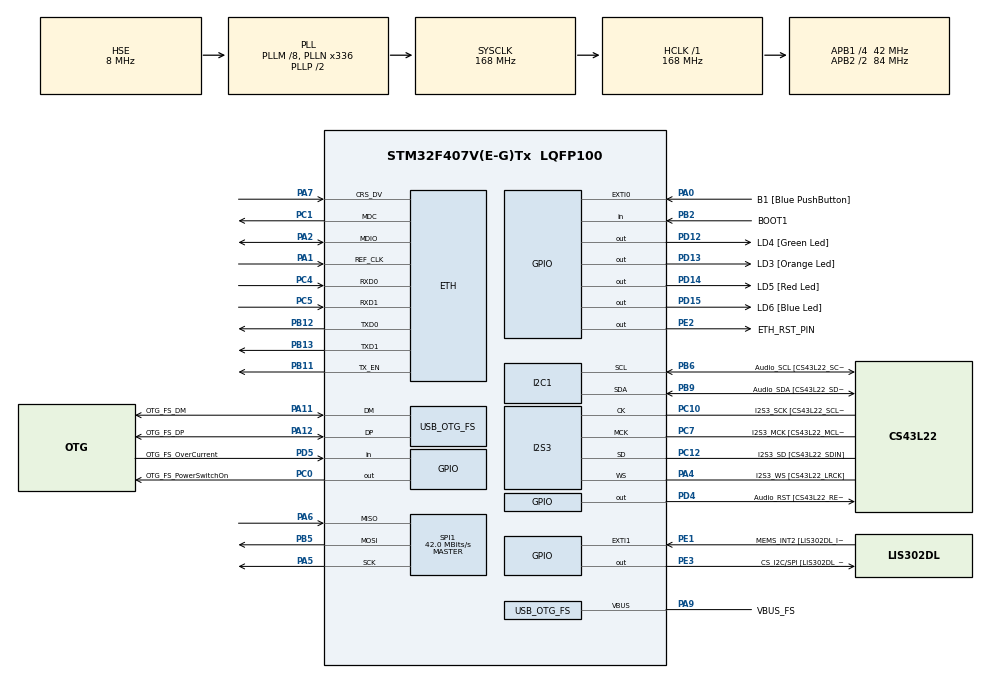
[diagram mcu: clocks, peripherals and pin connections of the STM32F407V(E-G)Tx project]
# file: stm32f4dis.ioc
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ETH.AutoNegotiation=ETH_AUTONEGOTIATION_DISABLE
ETH.MACAddr=42\:52\:4F\:45\:4B\:4E
ETH.MediaInterface=ETH_MEDIA_INTERFACE_RMII
ETH.PHY_CONFIG_DELAY=0x00000FFF
ETH.PHY_Name_RMII=userPHY
ETH.PHY_READ_TO=0x0004FFFF
ETH.PHY_RESET_DELAY=0x000008FF
ETH.PHY_SR=0x31
ETH.PHY_User_Name=STM32F4DIS_BB
ETH.PHY_WRITE_TO=0x0004FFFF
ETH.PhyAddress=0
I2S3.AudioFreq-Half_Duplex_Master=I2S_AUDIOFREQ_96K
I2S3.ErrorAudioFreq=-2.34 %
I2S3.ErrorAudioFreq-Half_Duplex_Master=0.8 %
I2S3.FullDuplexMode=I2S_FULLDUPLEXMODE_DISABLE
I2S3.Instance=SPI$Index
I2S3.RealAudioFreq=93.75 KHz
I2S3.RealAudioFreq-Half_Duplex_Master=96.774 KHz
I2S3.VirtualMode=I2S_MODE_MASTER
LWIP.CHECKSUM_BY_HARDWARE=0
LWIP.GATEWAY_ADDRESS=000.000.000.000
LWIP.IP_ADDRESS=000.000.000.000
LWIP.LWIP_DBG_MIN_LEVEL=LWIP_DBG_LEVEL_SEVERE
LWIP.LWIP_DHCP=1
LWIP.LWIP_NETIF_LINK_CALLBACK=0
LWIP.LWIP_SNMP=1
LWIP.LWIP_SNMP_V3=0
LWIP.LWIP_SNMP_V3_CRYPTO=0
LWIP.LWIP_SNMP_V3_MBEDTLS=0
LWIP.NETMASK_ADDRESS=000.000.000.000
LWIP.SNMP_LWIP_MIB2_SYSCONTACT="https\://Broekman.biz"
LWIP.SNMP_LWIP_MIB2_SYSDESC="STM32F407VGT6;168MHz_STM32F4DIS-BB_PHY_BROEKMAN"
LWIP.SNMP_LWIP_MIB2_SYSLOCATION="Netherlands"
LWIP.SNMP_LWIP_MIB2_SYSNAME="STM32F4DISCOVERY_STM32F4DIS-BB_PHY_BROEKMAN"
LWIP.Version=v2.0.3_Cube
Mcu.Family=STM32F4
Mcu.Name=STM32F407V(E-G)Tx
Mcu.Package=LQFP100
NVIC.OTG_FS_IRQn=true\:0\:0\:false\:false\:true\:true
NVIC.PriorityGroup=NVIC_PRIORITYGROUP_0
PA0-WKUP.GPIO_Label=B1 [Blue PushButton]
PA0-WKUP.GPIO_ModeDefaultEXTI=GPIO_MODE_EVT_RISING
PA0-WKUP.GPIO_PuPd=GPIO_NOPULL
PA0-WKUP.Signal=GPXTI0
PA1.Mode=RMII
PA1.Signal=ETH_REF_CLK
PA10.GPIO_Label=OTG_FS_ID
PA10.GPIO_Mode=GPIO_MODE_AF_PP
PA10.GPIO_PuPd=GPIO_NOPULL
PA10.GPIO_Speed=GPIO_SPEED_FREQ_LOW
PA10.Signal=USB_OTG_FS_ID
PA11.GPIO_Label=OTG_FS_DM
PA11.GPIO_Mode=GPIO_MODE_AF_PP
PA11.GPIO_PuPd=GPIO_NOPULL
PA11.GPIO_Speed=GPIO_SPEED_FREQ_LOW
PA11.Mode=Host_Only
PA11.Signal=USB_OTG_FS_DM
PA12.GPIO_Label=OTG_FS_DP
PA12.GPIO_Mode=GPIO_MODE_AF_PP
PA12.GPIO_PuPd=GPIO_NOPULL
PA12.GPIO_Speed=GPIO_SPEED_FREQ_LOW
PA12.Mode=Host_Only
PA12.Signal=USB_OTG_FS_DP
PA13.GPIO_Label=SWDIO
PA13.Mode=Serial_Wire
PA13.Signal=SYS_JTMS-SWDIO
PA14.GPIO_Label=SWCLK
PA14.Mode=Serial_Wire
PA14.Signal=SYS_JTCK-SWCLK
PA2.Mode=RMII
PA2.Signal=ETH_MDIO
PA4.GPIO_Label=I2S3_WS [CS43L22_LRCK]
PA4.GPIO_Mode=GPIO_MODE_AF_PP
PA4.GPIO_PuPd=GPIO_NOPULL
PA4.GPIO_Speed=GPIO_SPEED_FREQ_LOW
PA4.Mode=Half_Duplex_Master
PA4.Signal=I2S3_WS
PA5.Mode=Full_Duplex_Master
PA5.Signal=SPI1_SCK
PA6.Mode=Full_Duplex_Master
PA6.Signal=SPI1_MISO
PA7.Mode=RMII
PA7.Signal=ETH_CRS_DV
PA9.GPIO_Label=VBUS_FS
PA9.GPIO_Mode=GPIO_MODE_INPUT
PA9.GPIO_PuPd=GPIO_NOPULL
PA9.Mode=Activate_VBUS
PA9.Signal=USB_OTG_FS_VBUS
PB10.GPIO_Label=CLK_IN [MP45DT02_CLK]
PB10.GPIO_Mode=GPIO_MODE_AF_PP
PB10.GPIO_PuPd=GPIO_NOPULL
PB10.GPIO_Speed=GPIO_SPEED_FREQ_LOW
PB10.Signal=I2S2_CK
PB11.Mode=RMII
PB11.Signal=ETH_TX_EN
PB12.Mode=RMII
PB12.Signal=ETH_TXD0
PB13.Mode=RMII
PB13.Signal=ETH_TXD1
PB2.GPIO_Label=BOOT1
PB2.GPIO_Mode=GPIO_MODE_INPUT
PB2.GPIO_PuPd=GPIO_NOPULL
PB2.Signal=GPIO_Input
PB3.GPIO_Label=SWO
PB3.Signal=SYS_JTDO-SWO
PB5.Mode=Full_Duplex_Master
PB5.Signal=SPI1_MOSI
PB6.GPIO_Label=Audio_SCL [CS43L22_SCL]
PB6.GPIO_Mode=GPIO_MODE_AF_OD
PB6.GPIO_PuPd=GPIO_NOPULL
PB6.GPIO_Speed=GPIO_SPEED_FREQ_LOW
PB6.Mode=I2C
PB6.Signal=I2C1_SCL
PB9.GPIO_Label=Audio_SDA [CS43L22_SDA]
PB9.GPIO_Mode=GPIO_MODE_AF_OD
PB9.GPIO_PuPd=GPIO_NOPULL
PB9.GPIO_Speed=GPIO_SPEED_FREQ_LOW
PB9.Mode=I2C
PB9.Signal=I2C1_SDA
PC0.GPIO_Label=OTG_FS_PowerSwitchOn
PC0.GPIO_PuPd=GPIO_NOPULL
PC0.GPIO_Speed=GPIO_SPEED_FREQ_LOW
PC0.PinState=GPIO_PIN_SET
PC0.Signal=GPIO_Output
PC1.Mode=RMII
PC1.Signal=ETH_MDC
PC10.GPIO_Label=I2S3_SCK [CS43L22_SCLK]
PC10.GPIO_Mode=GPIO_MODE_AF_PP
PC10.GPIO_PuPd=GPIO_NOPULL
PC10.GPIO_Speed=GPIO_SPEED_FREQ_LOW
PC10.Mode=Half_Duplex_Master
PC10.Signal=I2S3_CK
PC12.GPIO_Label=I2S3_SD [CS43L22_SDIN]
PC12.GPIO_Mode=GPIO_MODE_AF_PP
PC12.GPIO_PuPd=GPIO_NOPULL
PC12.GPIO_Speed=GPIO_SPEED_FREQ_LOW
PC12.Mode=Half_Duplex_Master
PC12.Signal=I2S3_SD
PC14-OSC32_IN.GPIO_Label=PC14-OSC32_IN
PC14-OSC32_IN.Mode=LSE-External-Oscillator
PC14-OSC32_IN.Signal=RCC_OSC32_IN
PC15-OSC32_OUT.GPIO_Label=PC15-OSC32_OUT
PC15-OSC32_OUT.Mode=LSE-External-Oscillator
PC15-OSC32_OUT.Signal=RCC_OSC32_OUT
PC3.GPIO_Label=PDM_OUT [MP45DT02_DOUT]
PC3.GPIO_Mode=GPIO_MODE_AF_PP
PC3.GPIO_PuPd=GPIO_NOPULL
PC3.GPIO_Speed=GPIO_SPEED_FREQ_LOW
PC3.Signal=I2S2_SD
PC4.Mode=RMII
PC4.Signal=ETH_RXD0
PC5.Mode=RMII
PC5.Signal=ETH_RXD1
PC7.GPIO_Label=I2S3_MCK [CS43L22_MCLK]
PC7.GPIO_Mode=GPIO_MODE_AF_PP
PC7.GPIO_PuPd=GPIO_NOPULL
PC7.GPIO_Speed=GPIO_SPEED_FREQ_LOW
PC7.Mode=Master_Clock_Activated
PC7.Signal=I2S3_MCK
PD12.GPIO_Label=LD4 [Green Led]
PD12.GPIO_PuPd=GPIO_NOPULL
PD12.GPIO_Speed=GPIO_SPEED_FREQ_LOW
PD12.Signal=GPIO_Output
PD13.GPIO_Label=LD3 [Orange Led]
PD13.GPIO_PuPd=GPIO_NOPULL
PD13.GPIO_Speed=GPIO_SPEED_FREQ_LOW
PD13.Signal=GPIO_Output
PD14.GPIO_Label=LD5 [Red Led]
PD14.GPIO_PuPd=GPIO_NOPULL
PD14.GPIO_Speed=GPIO_SPEED_FREQ_LOW
PD14.Signal=GPIO_Output
PD15.GPIO_Label=LD6 [Blue Led]
PD15.GPIO_PuPd=GPIO_NOPULL
PD15.GPIO_Speed=GPIO_SPEED_FREQ_LOW
PD15.Signal=GPIO_Output
PD4.GPIO_Label=Audio_RST [CS43L22_RESET]
PD4.GPIO_PuPd=GPIO_NOPULL
PD4.GPIO_Speed=GPIO_SPEED_FREQ_LOW
PD4.Signal=GPIO_Output
PD5.GPIO_Label=OTG_FS_OverCurrent
PD5.GPIO_Mode=GPIO_MODE_INPUT
PD5.GPIO_PuPd=GPIO_NOPULL
PD5.Signal=GPIO_Input
PE1.GPIO_Label=MEMS_INT2 [LIS302DL_INT2]
PE1.GPIO_ModeDefaultEXTI=GPIO_MODE_EVT_RISING
PE1.GPIO_PuPd=GPIO_NOPULL
PE1.Signal=GPXTI1
PE2.GPIO_Label=ETH_RST_PIN
PE2.GPIO_Speed=GPIO_SPEED_FREQ_HIGH
PE2.Signal=GPIO_Output
PE3.GPIO_Label=CS_I2C/SPI [LIS302DL_CS_I2C/SPI]
PE3.GPIO_PuPd=GPIO_NOPULL
PE3.GPIO_Speed=GPIO_SPEED_FREQ_LOW
PE3.Signal=GPIO_Output
PH0-OSC_IN.GPIO_Label=PH0-OSC_IN
PH0-OSC_IN.Mode=HSE-External-Oscillator
PH0-OSC_IN.Signal=RCC_OSC_IN
PH1-OSC_OUT.GPIO_Label=PH1-OSC_OUT
PH1-OSC_OUT.Mode=HSE-External-Oscillator
PH1-OSC_OUT.Signal=RCC_OSC_OUT
ProjectManager.HeapSize=0x200
ProjectManager.StackSize=0x400
ProjectManager.TargetToolchain=TrueSTUDIO
RCC.48MHZClocksFreq_Value=48000000
RCC.AHBFreq_Value=168000000
RCC.APB1CLKDivider=RCC_HCLK_DIV4
RCC.APB1Freq_Value=42000000
RCC.APB1TimFreq_Value=84000000
RCC.APB2CLKDivider=RCC_HCLK_DIV2
RCC.APB2Freq_Value=84000000
RCC.APB2TimFreq_Value=168000000
RCC.CortexFreq_Value=168000000
RCC.HCLKFreq_Value=168000000
RCC.HSE_VALUE=8000000
RCC.HSI_VALUE=16000000
RCC.PLLM=8
RCC.PLLN=336
RCC.PLLQ=7
RCC.SYSCLKFreq_VALUE=168000000
RCC.SYSCLKSource=RCC_SYSCLKSOURCE_PLLCLK
RCC.VCOOutputFreq_Value=336000000
SPI1.CalculateBaudRate=42.0 MBits/s
SPI1.Direction=SPI_DIRECTION_2LINES
SPI1.Mode=SPI_MODE_MASTER
SPI1.VirtualType=VM_MASTER
USB_HOST.BSP.number=1
USB_HOST.USBH_HandleTypeDef-CDC_FS=hUsbHostFS
USB_HOST.VirtualModeFS=Cdc
USB_HOST0.BSP.STBoard=false
USB_HOST0.BSP.api=UnknownBspDriver
USB_HOST0.BSP.i2caddr=0
USB_HOST0.BSP.i2creg=0
USB_HOST0.BSP.instance=PC0
USB_HOST0.BSP.ip=GPIO
USB_HOST0.BSP.mode=Output
USB_HOST0.BSP.name=Drive_VBUS_FS
USB_HOST0.BSP.solution=PC0
USB_OTG_FS.VirtualMode=Host_Only
USB_OTG_FS.phy_itface=HCD_PHY_EMBEDDED
VP_LWIP_VS_Enabled.Mode=Enabled
VP_RNG_VS_RNG.Mode=RNG_Activate
VP_USB_HOST_VS_USB_HOST_CDC_FS.Mode=CDC_FS
board=STM32F4DISCOVERY

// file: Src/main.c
/* USER CODE BEGIN Header */
/**
  ******************************************************************************
  * @file           : main.c
  * @brief          : Main program body
  ******************************************************************************
  * This notice applies to any and all portions of this file
  * that are not between comment pairs USER CODE BEGIN and
  * USER CODE END. Other portions of this file, whether
  * inserted by the user or by software development tools
  * are owned by their respective copyright owners.
  *
  * Copyright (c) 2018 STMicroelectronics International N.V.
  * All rights reserved.
  *
  * Redistribution and use in source and binary forms, with or without
  * modification, are permitted, provided that the following conditions are met:
  *
  * 1. Redistribution of source code must retain the above copyright notice,
  *    this list of conditions and the following disclaimer.
  * 2. Redistributions in binary form must reproduce the above copyright notice,
  *    this list of conditions and the following disclaimer in the documentation
  *    and/or other materials provided with the distribution.
  * 3. Neither the name of STMicroelectronics nor the names of other
  *    contributors to this software may be used to endorse or promote products
  *    derived from this software without specific written permission.
  * 4. This software, including modifications and/or derivative works of this
  *    software, must execute solely and exclusively on microcontroller or
  *    microprocessor devices manufactured by or for STMicroelectronics.
  * 5. Redistribution and use of this software other than as permitted under
  *    this license is void and will automatically terminate your rights under
  *    this license.
  *
  * THIS SOFTWARE IS PROVIDED BY STMICROELECTRONICS AND CONTRIBUTORS "AS IS"
  * AND ANY EXPRESS, IMPLIED OR STATUTORY WARRANTIES, INCLUDING, BUT NOT
  * LIMITED TO, THE IMPLIED WARRANTIES OF MERCHANTABILITY, FITNESS FOR A
  * PARTICULAR PURPOSE AND NON-INFRINGEMENT OF THIRD PARTY INTELLECTUAL PROPERTY
  * RIGHTS ARE DISCLAIMED TO THE FULLEST EXTENT PERMITTED BY LAW. IN NO EVENT
  * SHALL STMICROELECTRONICS OR CONTRIBUTORS BE LIABLE FOR ANY DIRECT, INDIRECT,
  * INCIDENTAL, SPECIAL, EXEMPLARY, OR CONSEQUENTIAL DAMAGES (INCLUDING, BUT NOT
  * LIMITED TO, PROCUREMENT OF SUBSTITUTE GOODS OR SERVICES; LOSS OF USE, DATA,
  * OR PROFITS; OR BUSINESS INTERRUPTION) HOWEVER CAUSED AND ON ANY THEORY OF
  * LIABILITY, WHETHER IN CONTRACT, STRICT LIABILITY, OR TORT (INCLUDING
  * NEGLIGENCE OR OTHERWISE) ARISING IN ANY WAY OUT OF THE USE OF THIS SOFTWARE,
  * EVEN IF ADVISED OF THE POSSIBILITY OF SUCH DAMAGE.
  *
  ******************************************************************************
  */
/* USER CODE END Header */

#include "main.h"
#include "i2c.h"
#include "i2s.h"
#include "lwip.h"
#include "rng.h"
#include "spi.h"
#include "usb_host.h"
#include "gpio.h"

/* USER CODE BEGIN Includes */

#include "apps/snmp.h"

/* USER CODE END Includes */

/* USER CODE BEGIN PV */
/* Private variables ---------------------------------------------------------*/
static const uint32_t ip_address = PP_HTONL(LWIP_MAKEU32(192, 168, 1, 75));
static const uint32_t subnetmask = PP_HTONL(LWIP_MAKEU32(255, 255, 255, 0));
static const uint32_t gateway = PP_HTONL(LWIP_MAKEU32(192, 168, 1, 1));

static uint32_t curr_time = 1000;
/* USER CODE END PV */

void SystemClock_Config(void);
void MX_USB_HOST_Process(void);

/* USER CODE BEGIN PFP */
/* Private function prototypes -----------------------------------------------*/

static bool millisecond_passed(void);

/* USER CODE END PFP */

int main(void)
{

  /* MCU Configuration--------------------------------------------------------*/

  /* Reset of all peripherals, Initializes the Flash interface and the Systick. */
  HAL_Init();

  /* Configure the system clock */
  SystemClock_Config();

  /* Initialize all configured peripherals */
  MX_GPIO_Init();
  MX_I2C1_Init();
  MX_I2S3_Init();
  MX_USB_HOST_Init();
  MX_LWIP_Init();
  MX_RNG_Init();
  MX_SPI1_Init();
  /* USER CODE BEGIN 2 */

  //Manually assign IP (dhcp_start(&gnetif) in Src/lwip.c is commented out).
  LWIP_set_ip(ip_address, subnetmask, gateway);

  //Enable SNMPv2c agent.
  snmp_init();

  //Counters (for simple non-blocking LED blinky/loopy in main loop).
  uint32_t millisecond_counter = 0;
  uint16_t led_counter = GPIO_PIN_12;
  bool button_state = true;

  /* USER CODE END 2 */

  /* Infinite loop */
  /* USER CODE BEGIN WHILE */
  while (1)
  {
	if (millisecond_passed()) { ++millisecond_counter; }

    /* USER CODE END WHILE */
    MX_USB_HOST_Process();

    /* USER CODE BEGIN 3 */

    MX_LWIP_Process();

    //Loop all LEDs in a circle on the STM32F4Discovery to show that we're processing the main loop (initialization has finished).
    if(millisecond_counter >= 100 && button_state)
    {
    	HAL_GPIO_WritePin(GPIOD, GPIO_PIN_All, 0);
    	HAL_GPIO_TogglePin(GPIOD, led_counter);
    	(led_counter >= GPIO_PIN_15) ? (led_counter = GPIO_PIN_12) : (led_counter *= 2);
    	millisecond_counter = 0;
    }

    if(HAL_GPIO_ReadPin(GPIOA, GPIO_PIN_0))
    {
    	button_state = !button_state;
    }

  }
  /* USER CODE END 3 */
}

void SystemClock_Config(void)
{
  RCC_OscInitTypeDef RCC_OscInitStruct = {0};
  RCC_ClkInitTypeDef RCC_ClkInitStruct = {0};
  RCC_PeriphCLKInitTypeDef PeriphClkInitStruct = {0};

  /**Configure the main internal regulator output voltage
  */
  __HAL_RCC_PWR_CLK_ENABLE();
  __HAL_PWR_VOLTAGESCALING_CONFIG(PWR_REGULATOR_VOLTAGE_SCALE1);
  /**Initializes the CPU, AHB and APB busses clocks
  */
  RCC_OscInitStruct.OscillatorType = RCC_OSCILLATORTYPE_HSE;
  RCC_OscInitStruct.HSEState = RCC_HSE_ON;
  RCC_OscInitStruct.PLL.PLLState = RCC_PLL_ON;
  RCC_OscInitStruct.PLL.PLLSource = RCC_PLLSOURCE_HSE;
  RCC_OscInitStruct.PLL.PLLM = 8;
  RCC_OscInitStruct.PLL.PLLN = 336;
  RCC_OscInitStruct.PLL.PLLP = RCC_PLLP_DIV2;
  RCC_OscInitStruct.PLL.PLLQ = 7;
  if (HAL_RCC_OscConfig(&RCC_OscInitStruct) != HAL_OK)
  {
    Error_Handler();
  }
  /**Initializes the CPU, AHB and APB busses clocks
  */
  RCC_ClkInitStruct.ClockType = RCC_CLOCKTYPE_HCLK|RCC_CLOCKTYPE_SYSCLK
                              |RCC_CLOCKTYPE_PCLK1|RCC_CLOCKTYPE_PCLK2;
  RCC_ClkInitStruct.SYSCLKSource = RCC_SYSCLKSOURCE_PLLCLK;
  RCC_ClkInitStruct.AHBCLKDivider = RCC_SYSCLK_DIV1;
  RCC_ClkInitStruct.APB1CLKDivider = RCC_HCLK_DIV4;
  RCC_ClkInitStruct.APB2CLKDivider = RCC_HCLK_DIV2;

  if (HAL_RCC_ClockConfig(&RCC_ClkInitStruct, FLASH_LATENCY_5) != HAL_OK)
  {
    Error_Handler();
  }
  PeriphClkInitStruct.PeriphClockSelection = RCC_PERIPHCLK_I2S;
  PeriphClkInitStruct.PLLI2S.PLLI2SN = 192;
  PeriphClkInitStruct.PLLI2S.PLLI2SR = 2;
  if (HAL_RCCEx_PeriphCLKConfig(&PeriphClkInitStruct) != HAL_OK)
  {
    Error_Handler();
  }
}

/* USER CODE BEGIN 4 */
/**
 * Returns true if a millisecond has passed after the previous call to this function.
 */
static bool millisecond_passed(void)
{
	int32_t delta;
	uint32_t new_time = HAL_GetTick();
	delta =  (int32_t)(new_time - curr_time);
	if (delta) { curr_time = new_time; }
	return delta;
}

/* USER CODE END 4 */

void Error_Handler(void)
{
  while(1)
  {
  }
}

/************************ (C) COPYRIGHT STMicroelectronics *****END OF FILE****/
